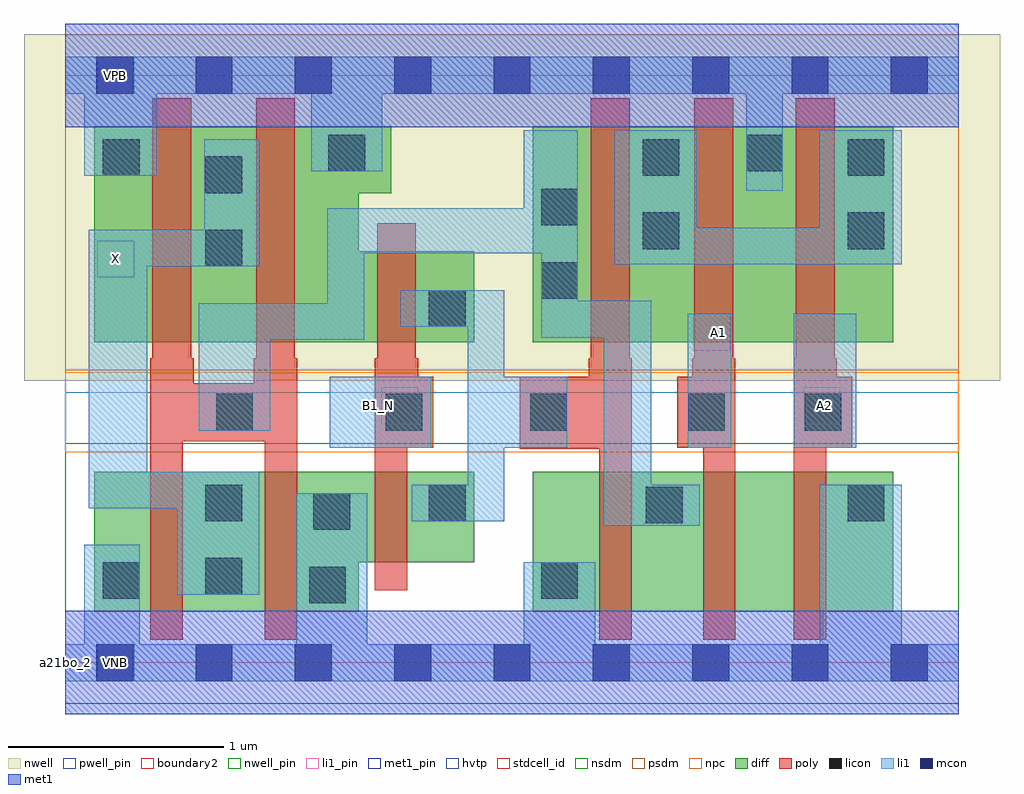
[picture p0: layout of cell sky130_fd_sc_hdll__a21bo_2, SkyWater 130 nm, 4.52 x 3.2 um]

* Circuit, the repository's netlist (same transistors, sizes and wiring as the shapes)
* Copyright 2020 The SkyWater PDK Authors
*
* Licensed under the Apache License, Version 2.0 (the "License");
* you may not use this file except in compliance with the License.
* You may obtain a copy of the License at
*
*     https://www.apache.org/licenses/LICENSE-2.0
*
* Unless required by applicable law or agreed to in writing, software
* distributed under the License is distributed on an "AS IS" BASIS,
* WITHOUT WARRANTIES OR CONDITIONS OF ANY KIND, either express or implied.
* See the License for the specific language governing permissions and
* limitations under the License.
*
* SPDX-License-Identifier: Apache-2.0

.SUBCKT sky130_fd_sc_hdll__a21bo_2 A1 A2 B1_N VGND VNB VPB VPWR X
*.PININFO A1:I A2:I B1_N:I VGND:I VNB:I VPB:I VPWR:I X:O
MMPA0 pndA A1 VPWR VPB sky130_fd_pr__pfet_01v8_hvt m=1 w=1.0U l=0.18U mult=1 sa=0.265
+ sb=0.265 sd=0.28 area=0.063 perim=1.14
MMPA1 pndA A2 VPWR VPB sky130_fd_pr__pfet_01v8_hvt m=1 w=1.0U l=0.18U mult=1 sa=0.265
+ sb=0.265 sd=0.28 area=0.063 perim=1.14
MMPB0 y B1 pndA VPB sky130_fd_pr__pfet_01v8_hvt m=1 w=1.0U l=0.18U mult=1 sa=0.265
+ sb=0.265 sd=0.28 area=0.063 perim=1.14
MMIPB1N B1 B1_N VPWR VPB sky130_fd_pr__pfet_01v8_hvt m=1 w=0.42U l=0.18U mult=1
+ sa=0.265 sb=0.265 sd=0.28 area=0.063 perim=1.14
MMIPX X y VPWR VPB sky130_fd_pr__pfet_01v8_hvt m=2 w=1.0U l=0.18U mult=1 sa=0.265
+ sb=0.265 sd=0.28 area=0.063 perim=1.14
MMNA0 y A1 sndA1 VNB sky130_fd_pr__nfet_01v8 m=1 w=0.65U l=0.15U mult=1 sa=0.265
+ sb=0.265 sd=0.28 area=0.063 perim=1.14
MMNA1 sndA1 A2 VGND VNB sky130_fd_pr__nfet_01v8 m=1 w=0.65U l=0.15U mult=1 sa=0.265
+ sb=0.265 sd=0.28 area=0.063 perim=1.14
MMNB0 y B1 VGND VNB sky130_fd_pr__nfet_01v8 m=1 w=0.65U l=0.15U mult=1 sa=0.265
+ sb=0.265 sd=0.28 area=0.063 perim=1.14
MMINB1N B1 B1_N VGND VNB sky130_fd_pr__nfet_01v8 m=1 w=0.42U l=0.15U mult=1 sa=0.265
+ sb=0.265 sd=0.28 area=0.063 perim=1.14
MMINX X y VGND VNB sky130_fd_pr__nfet_01v8 m=2 w=0.65U l=0.15U mult=1 sa=0.265
+ sb=0.265 sd=0.28 area=0.063 perim=1.14
.ENDS sky130_fd_sc_hdll__a21bo_2

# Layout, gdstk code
import gdstk
lib = gdstk.Library(unit=1e-6, precision=1e-09)
def R(c, l, rs):  # rectangles x0, y0, x1, y1
    for r in rs: c.add(gdstk.rectangle(r[:2], r[2:], *l))
def A(c, l, x, y, w, h, nx, ny, dx, dy):  # array of equal rectangles
    R(c, l, [(x+i*dx, y+j*dy, x+i*dx+w, y+j*dy+h) for i in range(nx) for j in range(ny)])
def P(c, l, *ps):  # polygons
    for p in ps: c.add(gdstk.Polygon(p, *l))
nwell_pin = (64, 16)
nwell = (64, 20)
diff = (65, 20)
poly = (66, 20)
licon = (66, 44)
li1_pin = (67, 16)
li1 = (67, 20)
mcon = (67, 44)
met1_pin = (68, 16)
met1 = (68, 20)
hvtp = (78, 44)
stdcell_id = (81, 4)
nsdm = (93, 44)
psdm = (94, 20)
npc = (95, 20)
pwell_pin = (122, 16)
boundary2 = (236, 0)

sky130_fd_sc_hdll__a21bo = lib.new_cell('sky130_fd_sc_hdll__a21bo_2')
R(sky130_fd_sc_hdll__a21bo, nwell_pin, [(0.15,2.635,0.32,2.805)])
R(sky130_fd_sc_hdll__a21bo, nwell, [(-0.19,1.305,4.33,2.91)])
R(sky130_fd_sc_hdll__a21bo, diff, [(2.165,0.235,3.835,0.885), (2.165,1.485,3.835,2.485)])
P(sky130_fd_sc_hdll__a21bo, diff, [(1.895,1.905),(1.36,1.905),(1.36,2.175),(1.51,2.175),(1.51,2.485),(0.135,2.485),(0.135,1.485),(1.895,1.485)],
  [(1.895,0.885),(0.135,0.885),(0.135,0.235),(1.36,0.235),(1.36,0.465),(1.895,0.465)])
P(sky130_fd_sc_hdll__a21bo, poly, [(1.075,1.41),(1.065,1.41),(1.065,2.615),(0.885,2.615),(0.885,1.41),(0.875,1.41),(0.875,1.295),(0.595,1.295),(0.595,1.41),(0.585,1.41),(0.585,2.615),(0.405,2.615),(0.405,1.41),(0.395,1.41),(0.395,0.105),(0.545,0.105),(0.545,1.025),(0.925,1.025),(0.925,0.105),(1.075,0.105)],
  [(1.705,1.325),(1.635,1.325),(1.635,1.41),(1.625,1.41),(1.625,2.035),(1.445,2.035),(1.445,1.41),(1.435,1.41),(1.435,0.335),(1.585,0.335),(1.585,0.995),(1.705,0.995)],
  [(2.625,1.41),(2.615,1.41),(2.615,2.615),(2.435,2.615),(2.435,1.41),(2.425,1.41),(2.425,1.325),(2.105,1.325),(2.105,0.99),(2.475,0.99),(2.475,0.105),(2.625,0.105)],
  [(3.105,1.41),(3.095,1.41),(3.095,2.615),(2.915,2.615),(2.915,1.41),(2.905,1.41),(2.905,1.325),(2.835,1.325),(2.835,0.995),(2.955,0.995),(2.955,0.105),(3.105,0.105)],
  [(3.645,1.325),(3.575,1.325),(3.575,1.41),(3.565,1.41),(3.565,2.615),(3.385,2.615),(3.385,1.41),(3.375,1.41),(3.375,0.105),(3.525,0.105),(3.525,0.995),(3.645,0.995)])
R(sky130_fd_sc_hdll__a21bo, licon, [(1.13,0.275,1.3,0.445), (0.175,0.295,0.345,0.465), (2.205,0.295,2.375,0.465), (0.65,0.315,0.82,0.485), (1.15,0.615,1.32,0.785), (2.69,0.645,2.86,0.815), (0.65,0.655,0.82,0.825), (1.685,0.655,1.855,0.825), (3.625,0.655,3.795,0.825), (0.7,1.075,0.87,1.245), (1.485,1.075,1.655,1.245), (2.155,1.075,2.325,1.245), (2.885,1.075,3.055,1.245), (3.425,1.075,3.595,1.245), (1.685,1.555,1.855,1.725), (2.205,1.685,2.375,1.855), (0.65,1.835,0.82,2.005), (2.675,1.915,2.845,2.085), (3.625,1.915,3.795,2.085), (2.205,2.025,2.375,2.195), (0.65,2.175,0.82,2.345), (0.175,2.255,0.345,2.425), (2.675,2.255,2.845,2.425), (3.625,2.255,3.795,2.425), (1.22,2.275,1.39,2.445), (3.155,2.275,3.325,2.445)])
R(sky130_fd_sc_hdll__a21bo, li1_pin, [(1.465,1.105,1.635,1.275), (3.42,1.105,3.59,1.275), (2.91,1.445,3.08,1.615), (0.15,1.785,0.32,1.955)])
R(sky130_fd_sc_hdll__a21bo, li1, [(1.225,0.995,1.695,1.325), (2.885,0.995,3.085,1.615), (3.375,0.995,3.665,1.615)])
P(sky130_fd_sc_hdll__a21bo, li1, [(4.14,2.805),(0,2.805),(0,2.635),(0.09,2.635),(0.09,2.255),(0.425,2.255),(0.425,2.635),(1.14,2.635),(1.14,2.275),(1.47,2.275),(1.47,2.635),(3.155,2.635),(3.155,2.185),(3.325,2.185),(3.325,2.635),(4.14,2.635)],
  [(3.875,2.465),(3.495,2.465),(3.495,2.015),(2.925,2.015),(2.925,2.465),(2.545,2.465),(2.545,1.845),(3.875,1.845)],
  [(0.9,0.885),(0.38,0.885),(0.38,1.835),(0.9,1.835),(0.9,2.425),(0.645,2.425),(0.645,2.005),(0.11,2.005),(0.11,0.715),(0.52,0.715),(0.52,0.315),(0.9,0.315)],
  [(2.325,1.325),(2.035,1.325),(2.035,1.725),(1.555,1.725),(1.555,1.555),(1.865,1.555),(1.865,0.825),(1.605,0.825),(1.605,0.655),(2.035,0.655),(2.035,0.995),(2.325,0.995)],
  [(4.14,0.085),(3.875,0.085),(3.875,0.825),(3.495,0.825),(3.495,0.085),(2.455,0.085),(2.455,0.465),(2.125,0.465),(2.125,0.085),(1.4,0.085),(1.4,0.785),(1.07,0.785),(1.07,0.085),(0.345,0.085),(0.345,0.545),(0.09,0.545),(0.09,0.085),(0,0.085),(0,-0.085),(4.14,-0.085)],
  [(2.94,0.825),(2.715,0.825),(2.715,1.675),(2.375,1.675),(2.375,2.465),(2.125,2.465),(2.125,2.105),(1.215,2.105),(1.215,1.665),(0.62,1.665),(0.62,1.075),(0.95,1.075),(0.95,1.495),(1.385,1.495),(1.385,1.895),(2.205,1.895),(2.205,1.505),(2.495,1.505),(2.495,0.635),(2.94,0.635)])
A(sky130_fd_sc_hdll__a21bo, mcon, 0.145, -0.085, 0.17, 0.17, 9, 2, 0.46, 2.72)
R(sky130_fd_sc_hdll__a21bo, met1_pin, [(0.15,-0.085,0.32,0.085), (0.15,2.635,0.32,2.805)])
R(sky130_fd_sc_hdll__a21bo, met1, [(0,-0.24,4.14,0.24), (0,2.48,4.14,2.96)])
R(sky130_fd_sc_hdll__a21bo, hvtp, [(0,1.25,4.14,2.72)])
R(sky130_fd_sc_hdll__a21bo, stdcell_id, [(0,0,4.14,2.72)])
R(sky130_fd_sc_hdll__a21bo, nsdm, [(0,-0.19,4.14,1.015)])
R(sky130_fd_sc_hdll__a21bo, psdm, [(0,1.355,4.14,2.91)])
R(sky130_fd_sc_hdll__a21bo, npc, [(0,0.975,4.14,1.345)])
R(sky130_fd_sc_hdll__a21bo, pwell_pin, [(0.15,-0.085,0.32,0.085)])
R(sky130_fd_sc_hdll__a21bo, boundary2, [(0,0,4.14,2.72)])
sky130_fd_sc_hdll__a21bo.add(gdstk.Label('B1_N', (1.45,1.19), layer=67, texttype=5))
sky130_fd_sc_hdll__a21bo.add(gdstk.Label('A2', (3.515,1.19), layer=67, texttype=5))
sky130_fd_sc_hdll__a21bo.add(gdstk.Label('X', (0.235,1.87), layer=67, texttype=5))
sky130_fd_sc_hdll__a21bo.add(gdstk.Label('A1', (3.025,1.53), layer=67, texttype=5))
sky130_fd_sc_hdll__a21bo.add(gdstk.Label('VNB', (0.235,0), layer=64, texttype=59))
sky130_fd_sc_hdll__a21bo.add(gdstk.Label('VPB', (0.235,2.72), layer=64, texttype=5))
sky130_fd_sc_hdll__a21bo.add(gdstk.Label('VGND', (0.235,0), layer=68, texttype=5))
sky130_fd_sc_hdll__a21bo.add(gdstk.Label('VPWR', (0.235,2.72), layer=68, texttype=5))
sky130_fd_sc_hdll__a21bo.add(gdstk.Label('a21bo_2', (0,0), layer=83, texttype=44))

lib.write_gds('sky130_fd_sc_hdll__a21bo_2.gds')
